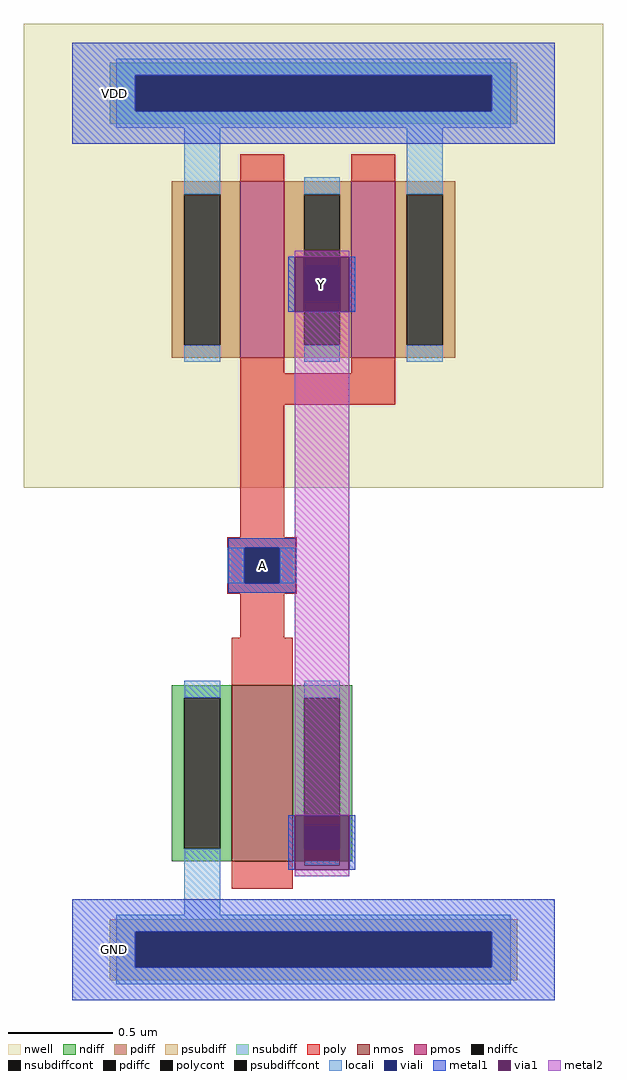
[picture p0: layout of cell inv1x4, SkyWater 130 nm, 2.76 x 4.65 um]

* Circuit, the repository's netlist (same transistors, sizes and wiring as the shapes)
** sch_path: /foss/designs/inv1x4.sch
.subckt inv1x4 A Y VDD GND
*.PININFO A:I Y:O VDD:B GND:B
XM1 Y A GND GND sky130_fd_pr__nfet_01v8 L=0.29 W=0.84 nf=1
XM2 Y A VDD VDD sky130_fd_pr__pfet_01v8 L=0.21 W=1.68 nf=2
.ends

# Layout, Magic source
magic
tech sky130A
magscale 1 2
<< nwell >>
rect -46 440 506 882
<< nmos >>
rect 152 84 210 252
<< pmos >>
rect 160 564 202 732
rect 266 564 308 732
<< ndiff >>
rect 95 240 152 252
rect 95 96 107 240
rect 141 96 152 240
rect 95 84 152 96
rect 210 240 267 252
rect 210 96 221 240
rect 255 96 267 240
rect 210 84 267 96
<< pdiff >>
rect 95 720 160 732
rect 95 576 107 720
rect 141 576 160 720
rect 95 564 160 576
rect 202 720 266 732
rect 202 576 221 720
rect 255 576 266 720
rect 202 564 266 576
rect 308 720 365 732
rect 308 576 319 720
rect 353 576 365 720
rect 308 564 365 576
<< ndiffc >>
rect 107 96 141 240
rect 221 96 255 240
<< pdiffc >>
rect 107 576 141 720
rect 221 576 255 720
rect 319 576 353 720
<< psubdiff >>
rect 36 17 424 29
rect 36 -17 60 17
rect 400 -17 424 17
rect 36 -29 424 -17
<< nsubdiff >>
rect 36 833 424 845
rect 36 799 60 833
rect 400 799 424 833
rect 36 787 424 799
<< psubdiffcont >>
rect 60 -17 400 17
<< nsubdiffcont >>
rect 60 799 400 833
<< poly >>
rect 160 732 202 758
rect 266 732 308 758
rect 160 549 202 564
rect 266 549 308 564
rect 160 519 308 549
rect 160 393 202 519
rect 148 383 214 393
rect 148 349 164 383
rect 198 349 214 383
rect 148 339 214 349
rect 160 297 202 339
rect 152 252 210 297
rect 152 58 210 84
<< polycont >>
rect 164 349 198 383
<< locali >>
rect 42 833 418 849
rect 42 799 60 833
rect 400 799 418 833
rect 42 783 418 799
rect 107 720 141 783
rect 107 560 141 576
rect 221 720 255 736
rect 221 560 255 576
rect 319 720 353 783
rect 319 560 353 576
rect 148 349 164 383
rect 198 349 214 383
rect 107 240 141 256
rect 107 33 141 96
rect 221 240 255 256
rect 221 80 255 85
rect 42 17 418 33
rect 42 -17 60 17
rect 400 -17 418 17
rect 42 -33 418 -17
<< viali >>
rect 60 799 400 833
rect 221 617 255 651
rect 164 349 198 383
rect 221 96 255 119
rect 221 85 255 96
rect 60 -17 400 17
<< metal1 >>
rect 0 833 460 864
rect 0 799 60 833
rect 400 799 460 833
rect 0 768 460 799
rect 206 608 212 660
rect 264 608 270 660
rect 149 383 213 392
rect 149 349 164 383
rect 198 349 213 383
rect 149 340 213 349
rect 206 76 212 128
rect 264 76 270 128
rect 0 17 460 48
rect 0 -17 60 17
rect 400 -17 460 17
rect 0 -48 460 -17
<< via1 >>
rect 212 651 264 660
rect 212 617 221 651
rect 221 617 255 651
rect 255 617 264 651
rect 212 608 264 617
rect 212 119 264 128
rect 212 85 221 119
rect 221 85 255 119
rect 255 85 264 119
rect 212 76 264 85
<< metal2 >>
rect 212 660 264 666
rect 212 128 264 608
rect 212 70 264 76
<< labels >>
rlabel metal1 158 343 204 389 0 A
port 1 nsew
rlabel via1 215 611 261 657 0 Y
port 2 nsew
rlabel metal1 10 780 70 852 0 VDD
port 3 nsew
rlabel metal1 10 -36 70 36 0 GND
port 4 nsew
<< properties >>
string FIXED_BBOX 0 0 460 816
<< end >>
